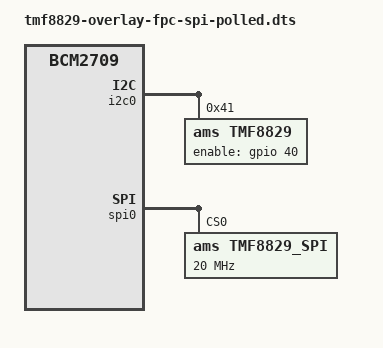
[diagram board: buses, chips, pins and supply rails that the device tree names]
/*
 ************************************************************************************
 * Copyright (c) [2025] ams-OSRAM AG                                                *
 *                                                                                  *
 * SPDX-License-Identifier: GPL-2.0 OR MIT                                          *
 *                                                                                  *
 * For the full license texts, see LICENSES-GPL-2.0.txt or LICENSES-MIT.TXT.        *
 ************************************************************************************
*/

/* Definitions for tmf8829 time-of-flight sensor from ams AG
 *
 * Compile:
 * dtc -@ -I dts -O dtb -o tmf8829-overlay-fpc_spi_polled.dtbo tmf8829-overlay-fpc_spi_polled.dts
 */

/dts-v1/;
/plugin/;

/ {
  compatible = "brcm,bcm2835","brcm,bcm2708","brcm,bcm2709";

  fragment@0 {
    target = <&i2c0>;
    __overlay__ {
      status = "okay";
    };
  };

  fragment@1 {
    target = <&gpio>;
    __overlay__ {
      tmf8829_pins: tmf8829_pins {
        brcm,pins = <40>; /*enable (CAM_IO1->GPIO40)*/
        brcm,function = <1>; /*enable output*/
        brcm,pull = <0>; /*enable pull-down on CE*/
      };
    };
  };

  fragment@2 {
    target = <&i2c0>;
    __overlay__ {
      #address-cells = <1>;
      #size-cells = <0>;
      status = "okay";

      tmf8829: tmf8829@41 {
        compatible = "ams,tmf8829";
        reg = <0x41>; /* x41 for HW */
        pinctrl-names = "default";
        pinctrl-0 = <&tmf8829_pins>;
        tof,tof_poll_period = <0xA>; /*poll period (100 usec)*/
        enable-gpios = <&gpio 40 0>; /* CAM_GPIO1 on header*/
      };
    };
  };

fragment@3 {
        target = <&spidev0>;
        __overlay__ {
            status = "disabled";
        };
    };  
fragment@4 {
    target = <&spidev1>;
    __overlay__ {
        status = "disabled";
    };
};

  fragment@5 {
    target = <&spi0>;
    __overlay__ {
      #address-cells = <1>;
      #size-cells = <0>;
      status = "okay";

      tmf8829_spi@0 {
        compatible = "ams,tmf8829_spi";
        reg = <0>;
        spi-max-frequency = <20000000>;
      };
    };
  };
  __overrides__ {
    tof_poll_period = <&tmf8829>,"tof,tof_poll_period:0";
    tof_enable = <&tmf8829_pins>,"brcm,pins:4",
        <&tmf8829>,"enable-gpios:4";
    tof_i2c_addr = <&tmf8829>,"reg:0";
  };
};

